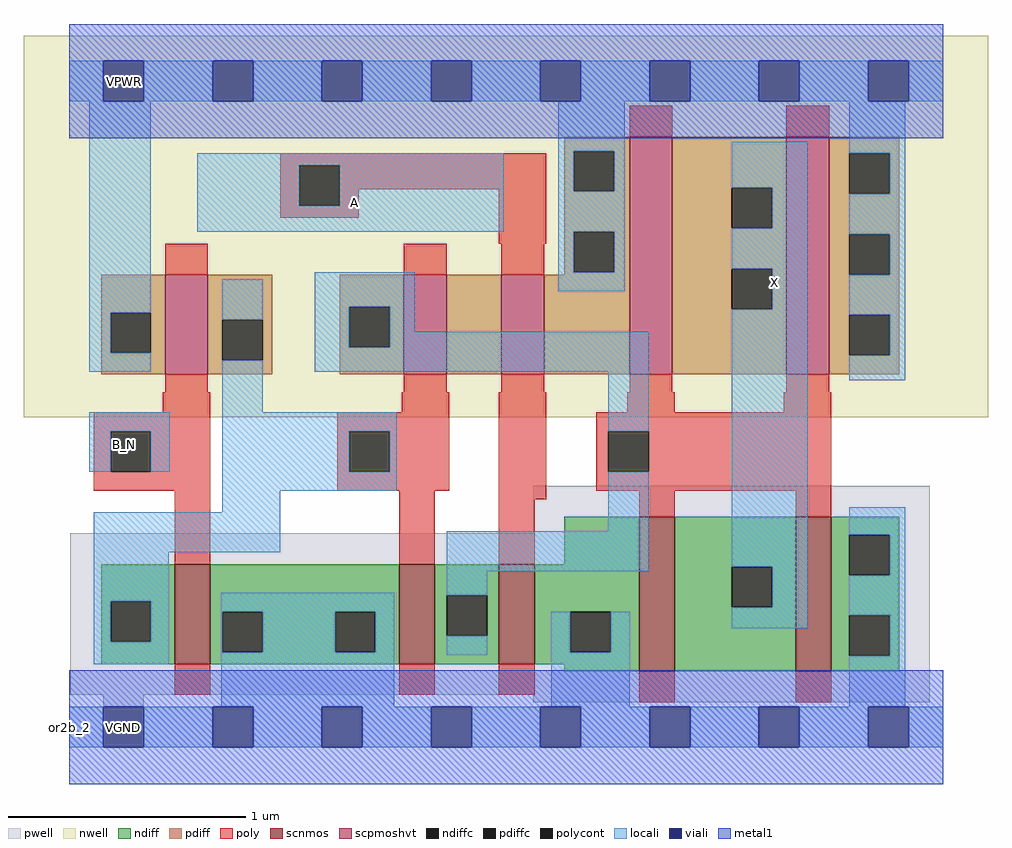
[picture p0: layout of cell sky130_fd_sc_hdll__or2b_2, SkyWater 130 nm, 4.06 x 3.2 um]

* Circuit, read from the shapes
.subckt sky130_fd_sc_hdll__or2b_2 A B_N VGND VNB VPB VPWR X
XM1 VGND B_N n1 VNB sky130_fd_pr__nfet_01v8 w=0.42 l=0.15
XM2 n2 n1 VGND VNB sky130_fd_pr__nfet_01v8 w=0.42 l=0.15
XM3 VGND A n2 VNB sky130_fd_pr__nfet_01v8 w=0.42 l=0.15
XM4 X n2 VGND VNB sky130_fd_pr__nfet_01v8 w=0.65 l=0.15 m=2
XM5 n1 B_N VPWR VPB sky130_fd_pr__pfet_01v8_hvt w=0.42 l=0.18
XM6 n3 n1 n2 VPB sky130_fd_pr__pfet_01v8_hvt w=0.42 l=0.18
XM7 VPWR A n3 VPB sky130_fd_pr__pfet_01v8_hvt w=0.42 l=0.18
XM8 X n2 VPWR VPB sky130_fd_pr__pfet_01v8_hvt w=1 l=0.18 m=2
.ends

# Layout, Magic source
magic
tech sky130A
magscale 1 2
<< nwell >>
rect -38 261 774 582
<< pwell >>
rect 391 163 725 203
rect 1 27 725 163
rect 29 -17 63 27
rect 391 21 725 27
<< scnmos >>
rect 89 53 119 137
rect 278 53 308 137
rect 362 53 392 137
rect 480 47 510 177
rect 612 47 642 177
<< scpmoshvt >>
rect 81 297 117 381
rect 282 297 318 381
rect 364 297 400 381
rect 472 297 508 497
rect 604 297 640 497
<< ndiff >>
rect 417 137 480 177
rect 27 106 89 137
rect 27 72 35 106
rect 69 72 89 106
rect 27 53 89 72
rect 119 97 278 137
rect 119 63 129 97
rect 163 63 224 97
rect 258 63 278 97
rect 119 53 278 63
rect 308 111 362 137
rect 308 77 318 111
rect 352 77 362 111
rect 308 53 362 77
rect 392 97 480 137
rect 392 63 422 97
rect 456 63 480 97
rect 392 53 480 63
rect 417 47 480 53
rect 510 135 612 177
rect 510 101 558 135
rect 592 101 612 135
rect 510 47 612 101
rect 642 162 699 177
rect 642 128 657 162
rect 691 128 699 162
rect 642 94 699 128
rect 642 60 657 94
rect 691 60 699 94
rect 642 47 699 60
<< pdiff >>
rect 417 485 472 497
rect 417 451 425 485
rect 459 451 472 485
rect 417 417 472 451
rect 417 383 425 417
rect 459 383 472 417
rect 417 381 472 383
rect 27 349 81 381
rect 27 315 35 349
rect 69 315 81 349
rect 27 297 81 315
rect 117 343 171 381
rect 117 309 129 343
rect 163 309 171 343
rect 117 297 171 309
rect 228 354 282 381
rect 228 320 236 354
rect 270 320 282 354
rect 228 297 282 320
rect 318 297 364 381
rect 400 297 472 381
rect 508 454 604 497
rect 508 420 558 454
rect 592 420 604 454
rect 508 386 604 420
rect 508 352 558 386
rect 592 352 604 386
rect 508 297 604 352
rect 640 483 699 497
rect 640 449 657 483
rect 691 449 699 483
rect 640 415 699 449
rect 640 381 657 415
rect 691 381 699 415
rect 640 347 699 381
rect 640 313 657 347
rect 691 313 699 347
rect 640 297 699 313
<< ndiffc >>
rect 35 72 69 106
rect 129 63 163 97
rect 224 63 258 97
rect 318 77 352 111
rect 422 63 456 97
rect 558 101 592 135
rect 657 128 691 162
rect 657 60 691 94
<< pdiffc >>
rect 425 451 459 485
rect 425 383 459 417
rect 35 315 69 349
rect 129 309 163 343
rect 236 320 270 354
rect 558 420 592 454
rect 558 352 592 386
rect 657 449 691 483
rect 657 381 691 415
rect 657 313 691 347
<< poly >>
rect 472 497 508 523
rect 604 497 640 523
rect 178 473 402 483
rect 178 439 194 473
rect 228 453 402 473
rect 228 439 244 453
rect 178 429 244 439
rect 362 407 402 453
rect 81 381 117 407
rect 282 381 318 407
rect 364 381 400 407
rect 81 282 117 297
rect 282 282 318 297
rect 364 282 400 297
rect 472 282 508 297
rect 604 282 640 297
rect 79 265 119 282
rect 280 265 320 282
rect 21 249 119 265
rect 21 215 35 249
rect 69 215 119 249
rect 21 199 119 215
rect 226 249 320 265
rect 226 215 236 249
rect 270 215 320 249
rect 226 199 320 215
rect 89 137 119 199
rect 278 137 308 199
rect 362 192 402 282
rect 470 265 510 282
rect 602 265 642 282
rect 444 249 642 265
rect 444 215 454 249
rect 488 215 642 249
rect 444 199 642 215
rect 362 137 392 192
rect 480 177 510 199
rect 612 177 642 199
rect 89 27 119 53
rect 278 27 308 53
rect 362 27 392 53
rect 480 21 510 47
rect 612 21 642 47
<< polycont >>
rect 194 439 228 473
rect 35 215 69 249
rect 236 215 270 249
rect 454 215 488 249
<< locali >>
rect 0 527 29 561
rect 63 527 121 561
rect 155 527 213 561
rect 247 527 305 561
rect 339 527 397 561
rect 431 527 489 561
rect 523 527 581 561
rect 615 527 673 561
rect 707 527 736 561
rect 17 349 69 527
rect 412 485 468 527
rect 108 473 366 483
rect 108 439 194 473
rect 228 439 366 473
rect 108 417 366 439
rect 412 451 425 485
rect 459 451 468 485
rect 412 417 468 451
rect 412 383 425 417
rect 459 383 468 417
rect 17 315 35 349
rect 17 299 69 315
rect 129 343 163 377
rect 129 265 163 309
rect 207 354 291 383
rect 412 367 468 383
rect 558 454 622 493
rect 592 420 622 454
rect 558 386 622 420
rect 207 320 236 354
rect 270 333 291 354
rect 592 352 622 386
rect 270 320 488 333
rect 207 299 488 320
rect 17 249 85 265
rect 17 215 35 249
rect 69 215 85 249
rect 129 249 276 265
rect 129 215 236 249
rect 270 215 276 249
rect 129 199 276 215
rect 454 249 488 299
rect 129 181 178 199
rect 21 147 178 181
rect 454 165 488 215
rect 21 106 84 147
rect 318 131 488 165
rect 558 135 622 352
rect 657 483 704 527
rect 691 449 704 483
rect 657 415 704 449
rect 691 381 704 415
rect 657 347 704 381
rect 691 313 704 347
rect 657 292 704 313
rect 21 72 35 106
rect 69 72 84 106
rect 21 53 84 72
rect 128 97 274 113
rect 128 63 129 97
rect 163 63 224 97
rect 258 63 274 97
rect 128 17 274 63
rect 318 111 352 131
rect 592 101 622 135
rect 318 61 352 77
rect 406 63 422 97
rect 456 63 472 97
rect 558 83 622 101
rect 657 162 704 185
rect 691 128 704 162
rect 657 94 704 128
rect 406 17 472 63
rect 691 60 704 94
rect 657 17 704 60
rect 0 -17 29 17
rect 63 -17 121 17
rect 155 -17 213 17
rect 247 -17 305 17
rect 339 -17 397 17
rect 431 -17 489 17
rect 523 -17 581 17
rect 615 -17 673 17
rect 707 -17 736 17
<< viali >>
rect 29 527 63 561
rect 121 527 155 561
rect 213 527 247 561
rect 305 527 339 561
rect 397 527 431 561
rect 489 527 523 561
rect 581 527 615 561
rect 673 527 707 561
rect 29 -17 63 17
rect 121 -17 155 17
rect 213 -17 247 17
rect 305 -17 339 17
rect 397 -17 431 17
rect 489 -17 523 17
rect 581 -17 615 17
rect 673 -17 707 17
<< metal1 >>
rect 0 561 736 592
rect 0 527 29 561
rect 63 527 121 561
rect 155 527 213 561
rect 247 527 305 561
rect 339 527 397 561
rect 431 527 489 561
rect 523 527 581 561
rect 615 527 673 561
rect 707 527 736 561
rect 0 496 736 527
rect 0 17 736 48
rect 0 -17 29 17
rect 63 -17 121 17
rect 155 -17 213 17
rect 247 -17 305 17
rect 339 -17 397 17
rect 431 -17 489 17
rect 523 -17 581 17
rect 615 -17 673 17
rect 707 -17 736 17
rect 0 -48 736 -17
<< labels >>
flabel locali s 223 425 257 459 0 FreeSans 400 0 0 0 A
port 1 nsew signal input
flabel locali s 30 221 64 255 0 FreeSans 400 0 0 0 B_N
port 2 nsew signal input
flabel locali s 577 357 611 391 0 FreeSans 400 0 0 0 X
port 7 nsew signal output
flabel metal1 s 30 527 64 561 0 FreeSans 200 0 0 0 VPWR
port 6 nsew power bidirectional
flabel metal1 s 29 -17 63 17 0 FreeSans 200 0 0 0 VGND
port 3 nsew ground bidirectional
flabel pwell s 29 -17 63 17 0 FreeSans 200 0 0 0 VNB
port 4 nsew ground bidirectional
flabel nwell s 30 527 64 561 0 FreeSans 200 0 0 0 VPB
port 5 nsew power bidirectional
rlabel comment s 0 0 0 0 4 or2b_2
<< properties >>
string LEFsite unithd
string LEFclass CORE
string FIXED_BBOX 0 0 736 544
string GDS_FILE $PDKPATH/libs.ref/sky130_fd_sc_hdll/gds/sky130_fd_sc_hdll.gds
string LEFsymmetry X Y R90
string GDS_END 1324940
string GDS_START 1319172
string LEFproperties maskLayoutSubType "abstract" prCellType "standard" originalViewName "layout"
<< end >>
